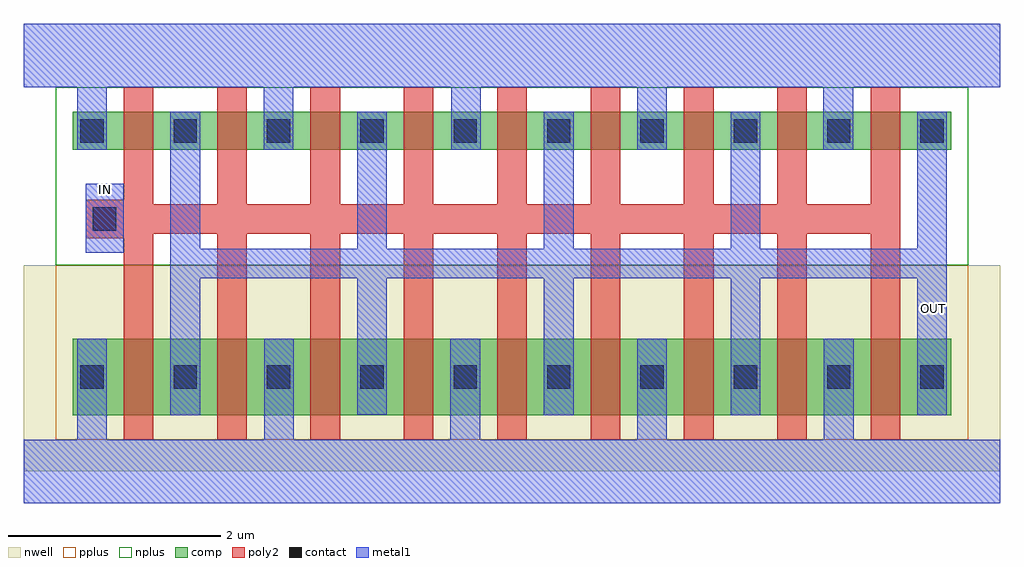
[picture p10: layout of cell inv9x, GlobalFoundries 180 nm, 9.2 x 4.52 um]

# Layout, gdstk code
import gdstk
lib = gdstk.Library(unit=1e-6, precision=5e-09)
def R(c, l, rs):  # rectangles x0, y0, x1, y1
    for r in rs: c.add(gdstk.rectangle(r[:2], r[2:], *l))
def A(c, l, x, y, w, h, nx, ny, dx, dy):  # array of equal rectangles
    R(c, l, [(x+i*dx, y+j*dy, x+i*dx+w, y+j*dy+h) for i in range(nx) for j in range(ny)])
nwell = (21, 0)
comp = (22, 0)
poly2 = (30, 0)
pplus = (31, 0)
nplus = (32, 0)
contact = (33, 0)
metal1 = (34, 0)

inv9x = lib.new_cell('inv9x')
R(inv9x, nwell, [(148.565,24.58,157.765,26.525)])
R(inv9x, comp, [(149.025,25.11,157.305,25.83), (149.025,27.61,157.305,27.97)])
A(inv9x, poly2, 149.505, 24.88, 0.28, 3.32, 9, 1, 0.88, 0)
R(inv9x, poly2, [(149.145,26.78,149.505,27.14), (149.505,26.82,156.825,27.1)])
R(inv9x, pplus, [(148.865,24.88,157.465,26.525)])
R(inv9x, nplus, [(148.865,26.525,157.465,28.2)])
A(inv9x, contact, 149.095, 25.36, 0.22, 0.22, 10, 2, 0.88, 2.32)
R(inv9x, contact, [(149.215,26.85,149.435,27.07)])
A(inv9x, metal1, 152.585, 24.88, 0.28, 0.95, 3, 1, 1.76, 0)
A(inv9x, metal1, 153.465, 25.11, 0.28, 2.86, 3, 1, 1.76, 0)
A(inv9x, metal1, 152.59, 27.61, 0.28, 0.59, 3, 1, 1.755, 0)
R(inv9x, metal1, [(148.565,24.28,157.765,24.88), (149.065,24.88,149.345,25.83), (150.83,24.88,151.11,25.83), (149.945,25.11,150.225,27.97), (151.705,25.115,151.985,27.97), (149.945,26.4,157.265,26.68), (149.145,26.64,149.505,27.29), (149.065,27.61,149.345,28.2), (150.825,27.61,151.105,28.2), (148.565,28.2,157.765,28.8)])
inv9x.add(gdstk.Label('IN', (149.335,27.24), layer=34, texttype=10))
inv9x.add(gdstk.Label('OUT', (157.135,26.115), layer=34, texttype=10))

lib.write_gds('inv9x.gds')
